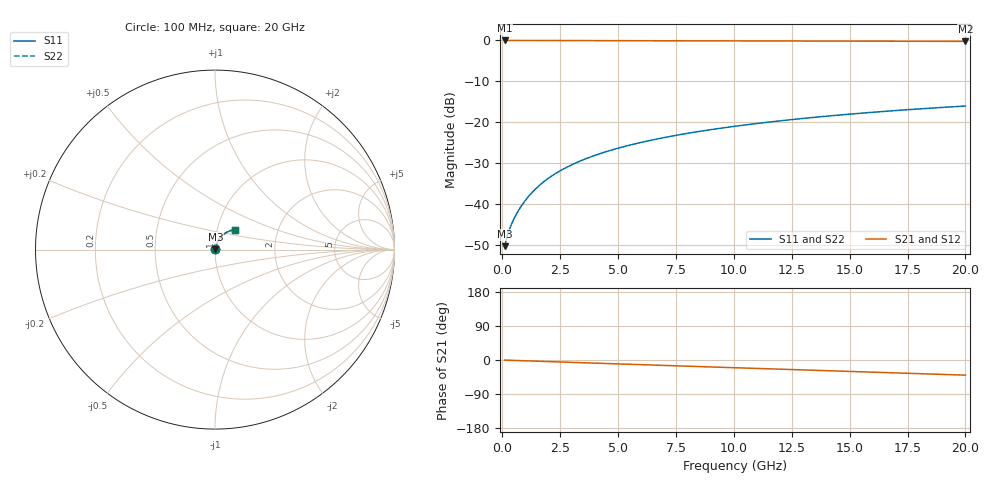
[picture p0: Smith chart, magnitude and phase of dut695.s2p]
! Touchstone file exported from HFSS 2026.1.0
!  File:  C:/ffzhzh/LocalFiles/Ansys_Project_Files/temp_train_TMRDL_695_1783010348_4048.aedt
!  Generated:  12:40:31 AM Jul  3, 2026
!  Design:  TMRDL
!  Project:  temp_train_TMRDL_695_1783010348_4048
! Variables:
!  h_bsmrdl = 2um
!  h_ox = 20um
!  h_rdl = 5um
!  h_sub = 80um
!  h_tmrdl = 4.82um
!  h_tsv = 80um
!  h_via = 3um
!  l_bsmrdl = 300um
!  l_sub = 1095.08um
!  l_tmrdl = 695.08um
!  m_sub = 200um
!  pitch = 29.69um
!  r_tsv = 6um
!  s_tmrdl = 10um
!  w_bsmrdl = 18um
!  w_sub = 500um
!  w_tmrdl = 20.5um
!  x_tsv_center1 = 705.33um
!  x_tsv_center2 = 1023.33um
!  x_tsv_center3 = 1738.91um
!  x_tsv_center4 = 2056.91um
!  x_tsv_center5 = 2772.49um
!  x_tsv_center6 = 3090.49um
# GHz S MA R 50.000000
! Terminal data exported
! Port[1] = TM_RDL1_1_T1
! Port[2] = TM_RDL1_1_T2
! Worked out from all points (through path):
!   200 points, 100 MHz to 20 GHz, reference 50 ohm
!   highest |S21| = -0.02 dB at 100 MHz (marker M1); lowest = -0.2 dB at 20 GHz (marker M2)
!   group delay of S21, straight-line fit = 5.53 ps
!   lowest |S11| = -50.3 dB at 100 MHz (marker M3), VSWR 1.01, Z = 50.3 + j0.139 ohm
!   |S11| at or under -10 dB: start of sweep to end of sweep
!   |S22| runs from -50.3 to -16.0 dB; largest |S21 - S12| = 2.3e-15
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0.1  0.003053 27.0  0.9973 -0.2  0.9973 -0.2  0.003053 27.0
! Gamma 0 0 0 0
! Port Impedance 50 0 50 0
0.2  0.003951 40.3  0.997 -0.5  0.997 -0.5  0.003951 40.3
0.3  0.004839 47.5  0.9968 -0.7  0.9968 -0.7  0.004839 47.5
0.4  0.005698 52.6  0.9966 -0.9  0.9966 -0.9  0.005697 52.6
0.5  0.006558 56.6  0.9965 -1.1  0.9965 -1.1  0.006558 56.6
0.6  0.007436 59.8  0.9964 -1.3  0.9964 -1.3  0.007436 59.8
0.8  0.009246 64.5  0.9962 -1.7  0.9962 -1.7  0.009246 64.5
1  0.01111 67.6  0.9961 -2.1  0.9961 -2.1  0.01111 67.6
1.2  0.01302 69.7  0.9959 -2.5  0.9959 -2.5  0.01302 69.7
1.4  0.01494 71.0  0.9958 -3.0  0.9958 -3.0  0.01494 71.0
1.7  0.01783 72.3  0.9955 -3.6  0.9955 -3.6  0.01783 72.3
2.2  0.02263 73.2  0.995 -4.6  0.995 -4.6  0.02263 73.2
2.8  0.02831 73.3  0.9943 -5.9  0.9943 -5.9  0.02831 73.3
3.5  0.03478 72.7  0.9934 -7.3  0.9934 -7.3  0.03478 72.7
4.2  0.04109 71.8  0.9924 -8.7  0.9924 -8.7  0.04109 71.8
5  0.04811 70.7  0.9913 -10.3  0.9913 -10.3  0.0481 70.7
6.8  0.0633 67.8  0.9889 -14.0  0.9889 -14.0  0.0633 67.8
8.3  0.07547 65.3  0.9869 -17.0  0.9869 -17.0  0.07546 65.3
10.1  0.08957 62.2  0.9846 -20.5  0.9846 -20.5  0.08956 62.2
13.4  0.1141 56.5  0.9805 -27.1  0.9805 -27.1  0.1141 56.5
16.7  0.1369 50.6  0.9762 -33.5  0.9762 -33.5  0.1369 50.6
20  0.1576 44.6  0.972 -40.0  0.972 -40.0  0.1576 44.7
